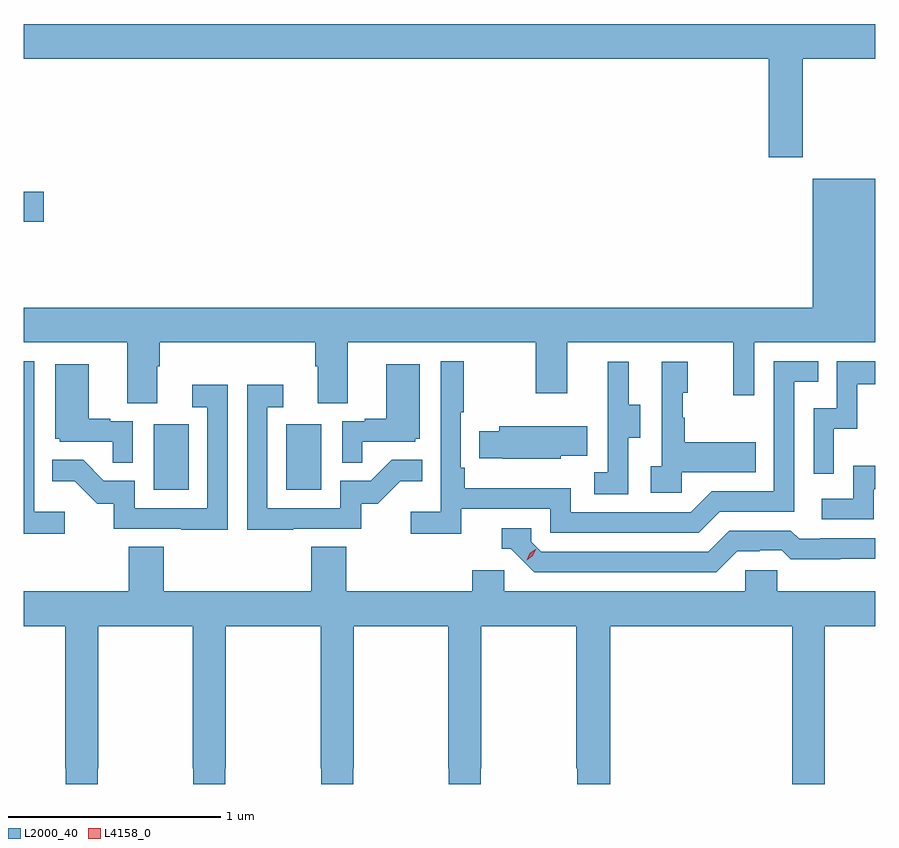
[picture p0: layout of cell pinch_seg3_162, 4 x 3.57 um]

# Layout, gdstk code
import gdstk
lib = gdstk.Library(unit=1e-6, precision=1e-09)
def R(c, l, rs):  # rectangles x0, y0, x1, y1
    for r in rs: c.add(gdstk.rectangle(r[:2], r[2:], *l))
def P(c, l, *ps):  # polygons
    for p in ps: c.add(gdstk.Polygon(p, *l))
L2000_40 = (2000, 40)
L4158_0 = (4158, 0)

pinch_seg3_162 = lib.new_cell('pinch_seg3_162')
R(pinch_seg3_162, L2000_40, [(1107.974,712.212,1108.138,712.519), (1108.598,712.212,1108.762,712.519), (1107.364,713.47,1107.457,713.612)])
P(pinch_seg3_162, L2000_40, [(1111.023,714.236),(1111.364,714.236),(1111.364,714.4),(1107.364,714.4),(1107.364,714.236),(1110.863,714.236),(1110.863,713.775),(1111.023,713.775)],
  [(1107.991,712.792),(1108.004,712.792),(1108.004,712.904),(1108.733,712.904),(1108.733,712.792),(1108.745,712.792),(1108.745,712.618),(1108.885,712.618),(1108.885,712.904),(1109.77,712.904),(1109.77,712.665),(1109.917,712.665),(1109.917,712.904),(1110.698,712.904),(1110.698,712.656),(1110.795,712.656),(1110.795,712.904),(1111.364,712.904),(1111.364,713.674),(1111.07,713.674),(1111.07,713.068),(1107.364,713.068),(1107.364,712.904),(1107.851,712.904),(1107.851,712.618),(1107.991,712.618)],
  [(1109.42,712.122),(1109.838,712.122),(1109.838,712.011),(1110.535,712.011),(1110.634,712.11),(1110.984,712.11),(1110.984,712.719),(1111.097,712.719),(1111.097,712.815),(1110.888,712.815),(1110.888,712.206),(1110.597,712.206),(1110.498,712.107),(1109.934,712.107),(1109.934,712.219),(1109.435,712.219),(1109.435,712.315),(1109.418,712.315),(1109.418,712.576),(1109.431,712.576),(1109.431,712.816),(1109.322,712.816),(1109.322,712.108),(1109.181,712.108),(1109.181,712.006),(1109.42,712.006)],
  [(1107.556,712.108),(1107.414,712.108),(1107.414,712.816),(1107.364,712.816),(1107.364,712.006),(1107.556,712.006)],
  [(1111.17,712.499),(1111.28,712.499),(1111.28,712.707),(1111.364,712.707),(1111.364,712.815),(1111.182,712.815),(1111.182,712.596),(1111.074,712.596),(1111.074,712.287),(1111.17,712.287)],
  [(1110.204,712.456),(1110.259,712.456),(1110.259,712.611),(1110.205,712.611),(1110.205,712.813),(1110.107,712.813),(1110.107,712.599),(1110.108,712.599),(1110.108,712.295),(1110.045,712.295),(1110.045,712.192),(1110.204,712.192)],
  [(1110.456,712.295),(1110.803,712.295),(1110.803,712.435),(1110.469,712.435),(1110.469,712.55),(1110.459,712.55),(1110.459,712.668),(1110.484,712.668),(1110.484,712.813),(1110.36,712.813),(1110.36,712.322),(1110.309,712.322),(1110.309,712.197),(1110.456,712.197)],
  [(1107.876,712.533),(1107.77,712.533),(1107.77,712.546),(1107.67,712.546),(1107.67,712.801),(1107.512,712.801),(1107.512,712.452),(1107.534,712.452),(1107.534,712.437),(1107.781,712.437),(1107.781,712.339),(1107.876,712.339)],
  [(1108.955,712.437),(1109.202,712.437),(1109.202,712.452),(1109.224,712.452),(1109.224,712.801),(1109.066,712.801),(1109.066,712.546),(1108.967,712.546),(1108.967,712.533),(1108.86,712.533),(1108.86,712.339),(1108.955,712.339)],
  [(1108.323,712.705),(1108.155,712.705),(1108.155,712.599),(1108.227,712.599),(1108.227,712.125),(1107.885,712.125),(1107.885,712.254),(1107.741,712.254),(1107.643,712.352),(1107.499,712.352),(1107.499,712.253),(1107.603,712.253),(1107.71,712.146),(1107.787,712.146),(1107.787,712.029),(1108.105,712.029),(1108.105,712.024),(1108.323,712.024)],
  [(1108.631,712.029),(1108.95,712.029),(1108.95,712.146),(1109.026,712.146),(1109.133,712.253),(1109.237,712.253),(1109.237,712.352),(1109.093,712.352),(1108.995,712.254),(1108.851,712.254),(1108.851,712.125),(1108.509,712.125),(1108.509,712.599),(1108.582,712.599),(1108.582,712.705),(1108.413,712.705),(1108.413,712.024),(1108.631,712.024)],
  [(1109.886,712.373),(1110.011,712.373),(1110.011,712.51),(1109.597,712.51),(1109.597,712.488),(1109.503,712.488),(1109.503,712.359),(1109.614,712.359),(1109.614,712.358),(1109.886,712.358)],
  [(1111.356,712.215),(1111.364,712.215),(1111.364,712.324),(1111.26,712.324),(1111.26,712.17),(1111.113,712.17),(1111.113,712.074),(1111.356,712.074)],
  [(1110.715,711.924),(1110.822,711.924),(1110.822,711.927),(1110.925,711.927),(1110.967,711.885),(1111.2,711.885),(1111.2,711.887),(1111.364,711.887),(1111.364,711.984),(1111.105,711.984),(1111.105,711.981),(1111.006,711.981),(1110.967,712.02),(1110.678,712.02),(1110.579,711.921),(1109.796,711.921),(1109.748,711.969),(1109.748,712.032),(1109.609,712.032),(1109.609,711.936),(1109.652,711.936),(1109.763,711.825),(1110.616,711.825)],
  [(1107.711,710.905),(1107.714,710.905),(1107.714,711.572),(1108.159,711.572),(1108.159,710.905),(1108.161,710.905),(1108.161,710.83),(1108.311,710.83),(1108.311,710.905),(1108.314,710.905),(1108.314,711.572),(1108.759,711.572),(1108.759,710.905),(1108.761,710.905),(1108.761,710.83),(1108.911,710.83),(1108.911,710.905),(1108.914,710.905),(1108.914,711.572),(1109.359,711.572),(1109.359,710.905),(1109.361,710.905),(1109.361,710.83),(1109.511,710.83),(1109.511,710.905),(1109.514,710.905),(1109.514,711.572),(1109.959,711.572),(1109.959,710.905),(1109.965,710.905),(1109.965,710.83),(1110.119,710.83),(1110.119,711.572),(1110.974,711.572),(1110.974,710.83),(1111.126,710.83),(1111.126,711.572),(1111.364,711.572),(1111.364,711.736),(1110.903,711.736),(1110.903,711.834),(1110.753,711.834),(1110.753,711.736),(1109.622,711.736),(1109.622,711.834),(1109.471,711.834),(1109.471,711.736),(1108.88,711.736),(1108.88,711.944),(1108.715,711.944),(1108.715,711.736),(1108.022,711.736),(1108.022,711.944),(1107.857,711.944),(1107.857,711.736),(1107.364,711.736),(1107.364,711.572),(1107.559,711.572),(1107.559,710.905),(1107.561,710.905),(1107.561,710.83),(1107.711,710.83)])
P(pinch_seg3_162, L4158_0, [(1109.726,711.882),(1109.726,711.882),(1109.741,711.915),(1109.772,711.936),(1109.772,711.936),(1109.772,711.935),(1109.756,711.902),(1109.726,711.882)])

lib.write_gds('pinch_seg3_162.gds')
